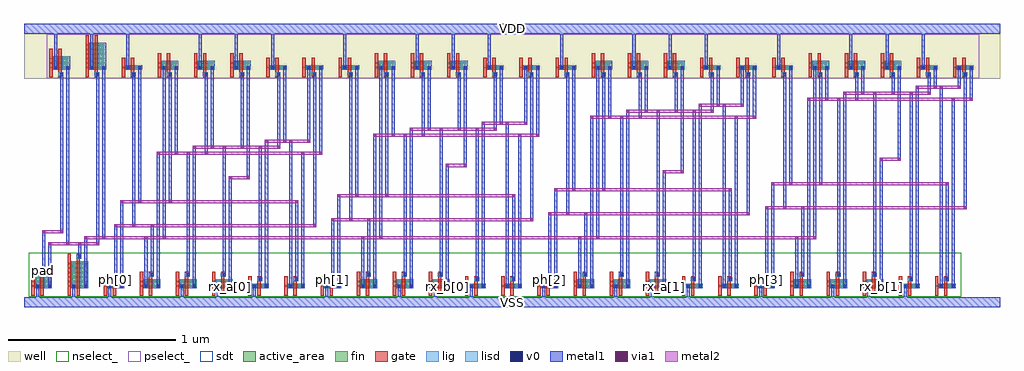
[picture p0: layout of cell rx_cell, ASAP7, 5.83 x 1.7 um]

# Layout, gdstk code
import gdstk
lib = gdstk.Library(unit=1e-6, precision=2.5e-10)
def R(c, l, rs):  # rectangles x0, y0, x1, y1
    for r in rs: c.add(gdstk.rectangle(r[:2], r[2:], *l))
def A(c, l, x, y, w, h, nx, ny, dx, dy):  # array of equal rectangles
    R(c, l, [(x+i*dx, y+j*dy, x+i*dx+w, y+j*dy+h) for i in range(nx) for j in range(ny)])
well = (1, 0)
fin = (2, 0)
gate = (7, 0)
active_area = (11, 0)
nselect_ = (12, 0)
pselect_ = (13, 0)
lig = (16, 0)
lisd = (17, 0)
v0 = (18, 0)
metal1 = (19, 0)
metal2 = (20, 0)
via1 = (21, 0)
sdt = (88, 0)

rx_cell = lib.new_cell('rx_cell')
R(rx_cell, well, [(0,1.366,5.832,1.636)])
A(rx_cell, fin, 0.049, 0.124, 0.108, 0.007, 26, 1, 0.216, 0)
A(rx_cell, fin, 0.265, 0.151, 0.108, 0.007, 1, 5, 0, 0.027)
A(rx_cell, fin, 0.697, 0.151, 0.108, 0.007, 3, 1, 0.216, 0)
A(rx_cell, fin, 1.993, 0.151, 0.108, 0.007, 3, 1, 0.216, 0)
A(rx_cell, fin, 3.289, 0.151, 0.108, 0.007, 3, 1, 0.216, 0)
A(rx_cell, fin, 4.585, 0.151, 0.108, 0.007, 3, 1, 0.216, 0)
A(rx_cell, fin, 0.157, 1.43, 0.108, 0.007, 26, 1, 0.216, 0)
A(rx_cell, fin, 0.373, 1.457, 0.108, 0.007, 1, 5, 0, 0.027)
A(rx_cell, fin, 0.805, 1.457, 0.108, 0.007, 3, 1, 0.216, 0)
A(rx_cell, fin, 2.101, 1.457, 0.108, 0.007, 3, 1, 0.216, 0)
A(rx_cell, fin, 3.397, 1.457, 0.108, 0.007, 3, 1, 0.216, 0)
A(rx_cell, fin, 4.693, 1.457, 0.108, 0.007, 3, 1, 0.216, 0)
R(rx_cell, fin, [(0.049,0.151,0.157,0.158), (0.049,0.178,0.157,0.185), (0.157,1.457,0.265,1.464), (0.157,1.484,0.265,1.491)])
R(rx_cell, gate, [(0.044,0.07,0.064,0.239), (0.098,0.07,0.118,0.239), (0.26,0.07,0.28,0.32), (0.314,0.07,0.334,0.32), (0.476,0.07,0.496,0.185), (0.53,0.07,0.55,0.185), (0.692,0.07,0.712,0.212), (0.746,0.07,0.766,0.212), (0.908,0.07,0.928,0.212), (0.962,0.07,0.982,0.212), (1.124,0.07,1.144,0.212), (1.178,0.07,1.198,0.212), (1.34,0.07,1.36,0.185), (1.394,0.07,1.414,0.185), (1.556,0.07,1.576,0.185), (1.61,0.07,1.63,0.185), (1.772,0.07,1.792,0.185), (1.826,0.07,1.846,0.185), (1.988,0.07,2.008,0.212), (2.042,0.07,2.062,0.212), (2.204,0.07,2.224,0.212), (2.258,0.07,2.278,0.212), (2.42,0.07,2.44,0.212), (2.474,0.07,2.494,0.212), (2.636,0.07,2.656,0.185), (2.69,0.07,2.71,0.185), (2.852,0.07,2.872,0.185), (2.906,0.07,2.926,0.185), (3.068,0.07,3.088,0.185), (3.122,0.07,3.142,0.185), (3.284,0.07,3.304,0.212), (3.338,0.07,3.358,0.212), (3.5,0.07,3.52,0.212), (3.554,0.07,3.574,0.212), (3.716,0.07,3.736,0.212), (3.77,0.07,3.79,0.212), (3.932,0.07,3.952,0.185), (3.986,0.07,4.006,0.185), (4.148,0.07,4.168,0.185), (4.202,0.07,4.222,0.185), (4.364,0.07,4.384,0.185), (4.418,0.07,4.438,0.185), (4.58,0.07,4.6,0.212), (4.634,0.07,4.654,0.212), (4.796,0.07,4.816,0.212), (4.85,0.07,4.87,0.212), (5.012,0.07,5.032,0.212), (5.066,0.07,5.086,0.212), (5.228,0.07,5.248,0.185), (5.282,0.07,5.302,0.185), (5.444,0.07,5.464,0.185), (5.498,0.07,5.518,0.185), (0.152,1.376,0.172,1.545), (0.206,1.376,0.226,1.545), (0.368,1.376,0.388,1.626), (0.422,1.376,0.442,1.626), (0.584,1.376,0.604,1.491), (0.638,1.376,0.658,1.491), (0.8,1.376,0.82,1.518), (0.854,1.376,0.874,1.518), (1.016,1.376,1.036,1.518), (1.07,1.376,1.09,1.518), (1.232,1.376,1.252,1.518), (1.286,1.376,1.306,1.518), (1.448,1.376,1.468,1.491), (1.502,1.376,1.522,1.491), (1.664,1.376,1.684,1.491), (1.718,1.376,1.738,1.491), (1.88,1.376,1.9,1.491), (1.934,1.376,1.954,1.491), (2.096,1.376,2.116,1.518), (2.15,1.376,2.17,1.518), (2.312,1.376,2.332,1.518), (2.366,1.376,2.386,1.518), (2.528,1.376,2.548,1.518), (2.582,1.376,2.602,1.518), (2.744,1.376,2.764,1.491), (2.798,1.376,2.818,1.491), (2.96,1.376,2.98,1.491), (3.014,1.376,3.034,1.491), (3.176,1.376,3.196,1.491), (3.23,1.376,3.25,1.491), (3.392,1.376,3.412,1.518), (3.446,1.376,3.466,1.518), (3.608,1.376,3.628,1.518), (3.662,1.376,3.682,1.518), (3.824,1.376,3.844,1.518), (3.878,1.376,3.898,1.518), (4.04,1.376,4.06,1.491), (4.094,1.376,4.114,1.491), (4.256,1.376,4.276,1.491), (4.31,1.376,4.33,1.491), (4.472,1.376,4.492,1.491), (4.526,1.376,4.546,1.491), (4.688,1.376,4.708,1.518), (4.742,1.376,4.762,1.518), (4.904,1.376,4.924,1.518), (4.958,1.376,4.978,1.518), (5.12,1.376,5.14,1.518), (5.174,1.376,5.194,1.518), (5.336,1.376,5.356,1.491), (5.39,1.376,5.41,1.491), (5.552,1.376,5.572,1.491), (5.606,1.376,5.626,1.491)])
A(rx_cell, active_area, 0.721, 0.114, 0.08, 0.054, 3, 1, 0.216, 0)
A(rx_cell, active_area, 1.369, 0.114, 0.08, 0.027, 3, 1, 0.216, 0)
A(rx_cell, active_area, 2.017, 0.114, 0.08, 0.054, 3, 1, 0.216, 0)
A(rx_cell, active_area, 2.665, 0.114, 0.08, 0.027, 3, 1, 0.216, 0)
A(rx_cell, active_area, 3.313, 0.114, 0.08, 0.054, 3, 1, 0.216, 0)
A(rx_cell, active_area, 3.961, 0.114, 0.08, 0.027, 3, 1, 0.216, 0)
A(rx_cell, active_area, 4.609, 0.114, 0.08, 0.054, 3, 1, 0.216, 0)
A(rx_cell, active_area, 0.829, 1.42, 0.08, 0.054, 3, 1, 0.216, 0)
A(rx_cell, active_area, 1.477, 1.42, 0.08, 0.027, 3, 1, 0.216, 0)
A(rx_cell, active_area, 2.125, 1.42, 0.08, 0.054, 3, 1, 0.216, 0)
A(rx_cell, active_area, 2.773, 1.42, 0.08, 0.027, 3, 1, 0.216, 0)
A(rx_cell, active_area, 3.421, 1.42, 0.08, 0.054, 3, 1, 0.216, 0)
A(rx_cell, active_area, 4.069, 1.42, 0.08, 0.027, 3, 1, 0.216, 0)
A(rx_cell, active_area, 4.717, 1.42, 0.08, 0.054, 3, 1, 0.216, 0)
R(rx_cell, active_area, [(0.073,0.114,0.153,0.195), (0.289,0.114,0.369,0.276), (0.505,0.114,0.585,0.141), (5.257,0.114,5.337,0.141), (5.473,0.114,5.553,0.141), (0.181,1.42,0.261,1.501), (0.397,1.42,0.477,1.582), (0.613,1.42,0.693,1.447), (5.365,1.42,5.445,1.447), (5.581,1.42,5.661,1.447)])
R(rx_cell, nselect_, [(0.027,0.063,5.599,0.327)])
R(rx_cell, pselect_, [(0.135,1.369,5.707,1.633)])
A(rx_cell, lig, 1.393, 0.157, 0.03, 0.024, 3, 1, 0.216, 0)
A(rx_cell, lig, 2.689, 0.157, 0.03, 0.024, 3, 1, 0.216, 0)
A(rx_cell, lig, 3.985, 0.157, 0.03, 0.024, 3, 1, 0.216, 0)
A(rx_cell, lig, 0.745, 0.184, 0.03, 0.024, 3, 1, 0.216, 0)
A(rx_cell, lig, 2.041, 0.184, 0.03, 0.024, 3, 1, 0.216, 0)
A(rx_cell, lig, 3.337, 0.184, 0.03, 0.024, 3, 1, 0.216, 0)
A(rx_cell, lig, 4.633, 0.184, 0.03, 0.024, 3, 1, 0.216, 0)
A(rx_cell, lig, 0.205, 1.38, 0.03, 0.024, 26, 1, 0.216, 0)
R(rx_cell, lig, [(0.529,0.157,0.559,0.181), (5.281,0.157,5.311,0.181), (5.497,0.157,5.527,0.181), (0.097,0.211,0.127,0.235), (0.313,0.292,0.343,0.316)])
A(rx_cell, lisd, 0.715, 0.114, 0.027, 0.054, 3, 1, 0.216, 0)
A(rx_cell, lisd, 0.77, 0.114, 0.045, 0.054, 3, 1, 0.216, 0)
A(rx_cell, lisd, 1.363, 0.114, 0.027, 0.027, 3, 1, 0.216, 0)
A(rx_cell, lisd, 1.418, 0.114, 0.045, 0.027, 3, 1, 0.216, 0)
A(rx_cell, lisd, 2.011, 0.114, 0.027, 0.054, 3, 1, 0.216, 0)
A(rx_cell, lisd, 2.066, 0.114, 0.045, 0.054, 3, 1, 0.216, 0)
A(rx_cell, lisd, 2.659, 0.114, 0.027, 0.027, 3, 1, 0.216, 0)
A(rx_cell, lisd, 2.714, 0.114, 0.045, 0.027, 3, 1, 0.216, 0)
A(rx_cell, lisd, 3.307, 0.114, 0.027, 0.054, 3, 1, 0.216, 0)
A(rx_cell, lisd, 3.362, 0.114, 0.045, 0.054, 3, 1, 0.216, 0)
A(rx_cell, lisd, 3.955, 0.114, 0.027, 0.027, 3, 1, 0.216, 0)
A(rx_cell, lisd, 4.01, 0.114, 0.045, 0.027, 3, 1, 0.216, 0)
A(rx_cell, lisd, 4.603, 0.114, 0.027, 0.054, 3, 1, 0.216, 0)
A(rx_cell, lisd, 4.658, 0.114, 0.045, 0.054, 3, 1, 0.216, 0)
A(rx_cell, lisd, 0.823, 1.42, 0.027, 0.054, 3, 1, 0.216, 0)
A(rx_cell, lisd, 0.878, 1.42, 0.045, 0.054, 3, 1, 0.216, 0)
A(rx_cell, lisd, 1.471, 1.42, 0.027, 0.027, 3, 1, 0.216, 0)
A(rx_cell, lisd, 1.526, 1.42, 0.045, 0.027, 3, 1, 0.216, 0)
A(rx_cell, lisd, 2.119, 1.42, 0.027, 0.054, 3, 1, 0.216, 0)
A(rx_cell, lisd, 2.174, 1.42, 0.045, 0.054, 3, 1, 0.216, 0)
A(rx_cell, lisd, 2.767, 1.42, 0.027, 0.027, 3, 1, 0.216, 0)
A(rx_cell, lisd, 2.822, 1.42, 0.045, 0.027, 3, 1, 0.216, 0)
A(rx_cell, lisd, 3.415, 1.42, 0.027, 0.054, 3, 1, 0.216, 0)
A(rx_cell, lisd, 3.47, 1.42, 0.045, 0.054, 3, 1, 0.216, 0)
A(rx_cell, lisd, 4.063, 1.42, 0.027, 0.027, 3, 1, 0.216, 0)
A(rx_cell, lisd, 4.118, 1.42, 0.045, 0.027, 3, 1, 0.216, 0)
A(rx_cell, lisd, 4.711, 1.42, 0.027, 0.054, 3, 1, 0.216, 0)
A(rx_cell, lisd, 4.766, 1.42, 0.045, 0.054, 3, 1, 0.216, 0)
R(rx_cell, lisd, [(0.067,0.114,0.094,0.195), (0.122,0.114,0.167,0.195), (0.283,0.114,0.31,0.276), (0.338,0.114,0.383,0.276), (0.499,0.114,0.526,0.141), (0.554,0.114,0.599,0.141), (5.251,0.114,5.278,0.141), (5.306,0.114,5.351,0.141), (5.467,0.114,5.494,0.141), (5.522,0.114,5.567,0.141), (0.175,1.42,0.202,1.501), (0.23,1.42,0.275,1.501), (0.391,1.42,0.418,1.582), (0.446,1.42,0.491,1.582), (0.607,1.42,0.634,1.447), (0.662,1.42,0.707,1.447), (5.359,1.42,5.386,1.447), (5.414,1.42,5.459,1.447), (5.575,1.42,5.602,1.447), (5.63,1.42,5.675,1.447)])
A(rx_cell, v0, 1.404, 0.16, 0.018, 0.018, 3, 1, 0.216, 0)
A(rx_cell, v0, 2.7, 0.16, 0.018, 0.018, 3, 1, 0.216, 0)
A(rx_cell, v0, 3.996, 0.16, 0.018, 0.018, 3, 1, 0.216, 0)
A(rx_cell, v0, 0.756, 0.187, 0.018, 0.018, 3, 1, 0.216, 0)
A(rx_cell, v0, 2.052, 0.187, 0.018, 0.018, 3, 1, 0.216, 0)
A(rx_cell, v0, 3.348, 0.187, 0.018, 0.018, 3, 1, 0.216, 0)
A(rx_cell, v0, 4.644, 0.187, 0.018, 0.018, 3, 1, 0.216, 0)
A(rx_cell, v0, 0.216, 1.383, 0.018, 0.018, 26, 1, 0.216, 0)
R(rx_cell, v0, [(0.072,0.118,0.09,0.136), (0.144,0.118,0.162,0.136), (0.288,0.118,0.306,0.136), (0.36,0.118,0.378,0.136), (0.504,0.118,0.522,0.136), (0.576,0.118,0.594,0.136), (0.72,0.118,0.738,0.136), (0.792,0.118,0.81,0.136), (0.936,0.118,0.954,0.136), (1.008,0.118,1.026,0.136), (1.152,0.118,1.17,0.136), (1.224,0.118,1.242,0.136), (1.368,0.118,1.386,0.136), (1.44,0.118,1.458,0.136), (1.584,0.118,1.602,0.136), (1.656,0.118,1.674,0.136), (1.8,0.118,1.818,0.136), (1.872,0.118,1.89,0.136), (2.016,0.118,2.034,0.136), (2.088,0.118,2.106,0.136), (2.232,0.118,2.25,0.136), (2.304,0.118,2.322,0.136), (2.448,0.118,2.466,0.136), (2.52,0.118,2.538,0.136), (2.664,0.118,2.682,0.136), (2.736,0.118,2.754,0.136), (2.88,0.118,2.898,0.136), (2.952,0.118,2.97,0.136), (3.096,0.118,3.114,0.136), (3.168,0.118,3.186,0.136), (3.312,0.118,3.33,0.136), (3.384,0.118,3.402,0.136), (3.528,0.118,3.546,0.136), (3.6,0.118,3.618,0.136), (3.744,0.118,3.762,0.136), (3.816,0.118,3.834,0.136), (3.96,0.118,3.978,0.136), (4.032,0.118,4.05,0.136), (4.176,0.118,4.194,0.136), (4.248,0.118,4.266,0.136), (4.392,0.118,4.41,0.136), (4.464,0.118,4.482,0.136), (4.608,0.118,4.626,0.136), (4.68,0.118,4.698,0.136), (4.824,0.118,4.842,0.136), (4.896,0.118,4.914,0.136), (5.04,0.118,5.058,0.136), (5.112,0.118,5.13,0.136), (5.256,0.118,5.274,0.136), (5.328,0.118,5.346,0.136), (5.472,0.118,5.49,0.136), (5.544,0.118,5.562,0.136), (0.54,0.16,0.558,0.178), (5.292,0.16,5.31,0.178), (5.508,0.16,5.526,0.178), (0.108,0.214,0.126,0.232), (0.324,0.295,0.342,0.313), (0.18,1.424,0.198,1.442), (0.252,1.424,0.27,1.442), (0.396,1.424,0.414,1.442), (0.468,1.424,0.486,1.442), (0.612,1.424,0.63,1.442), (0.684,1.424,0.702,1.442), (0.828,1.424,0.846,1.442), (0.9,1.424,0.918,1.442), (1.044,1.424,1.062,1.442), (1.116,1.424,1.134,1.442), (1.26,1.424,1.278,1.442), (1.332,1.424,1.35,1.442), (1.476,1.424,1.494,1.442), (1.548,1.424,1.566,1.442), (1.692,1.424,1.71,1.442), (1.764,1.424,1.782,1.442), (1.908,1.424,1.926,1.442), (1.98,1.424,1.998,1.442), (2.124,1.424,2.142,1.442), (2.196,1.424,2.214,1.442), (2.34,1.424,2.358,1.442), (2.412,1.424,2.43,1.442), (2.556,1.424,2.574,1.442), (2.628,1.424,2.646,1.442), (2.772,1.424,2.79,1.442), (2.844,1.424,2.862,1.442), (2.988,1.424,3.006,1.442), (3.06,1.424,3.078,1.442), (3.204,1.424,3.222,1.442), (3.276,1.424,3.294,1.442), (3.42,1.424,3.438,1.442), (3.492,1.424,3.51,1.442), (3.636,1.424,3.654,1.442), (3.708,1.424,3.726,1.442), (3.852,1.424,3.87,1.442), (3.924,1.424,3.942,1.442), (4.068,1.424,4.086,1.442), (4.14,1.424,4.158,1.442), (4.284,1.424,4.302,1.442), (4.356,1.424,4.374,1.442), (4.5,1.424,4.518,1.442), (4.572,1.424,4.59,1.442), (4.716,1.424,4.734,1.442), (4.788,1.424,4.806,1.442), (4.932,1.424,4.95,1.442), (5.004,1.424,5.022,1.442), (5.148,1.424,5.166,1.442), (5.22,1.424,5.238,1.442), (5.364,1.424,5.382,1.442), (5.436,1.424,5.454,1.442), (5.58,1.424,5.598,1.442), (5.652,1.424,5.67,1.442)])
A(rx_cell, metal1, 0.072, 0.021, 0.018, 0.115, 3, 1, 0.216, 0)
A(rx_cell, metal1, 0.936, 0.021, 0.018, 0.115, 3, 1, 0.216, 0)
A(rx_cell, metal1, 2.232, 0.021, 0.018, 0.115, 3, 1, 0.216, 0)
A(rx_cell, metal1, 3.528, 0.021, 0.018, 0.115, 3, 1, 0.216, 0)
A(rx_cell, metal1, 4.824, 0.021, 0.018, 0.115, 3, 1, 0.216, 0)
A(rx_cell, metal1, 0.72, 0.118, 0.018, 0.307, 4, 1, 1.296, 0)
A(rx_cell, metal1, 0.828, 0.407, 0.018, 1.035, 4, 1, 1.296, 0)
A(rx_cell, metal1, 0.18, 1.424, 0.018, 0.251, 3, 1, 0.216, 0)
A(rx_cell, metal1, 1.044, 1.424, 0.018, 0.251, 3, 1, 0.216, 0)
A(rx_cell, metal1, 2.34, 1.424, 0.018, 0.251, 3, 1, 0.216, 0)
A(rx_cell, metal1, 3.636, 1.424, 0.018, 0.251, 3, 1, 0.216, 0)
A(rx_cell, metal1, 4.932, 1.424, 0.018, 0.251, 3, 1, 0.216, 0)
R(rx_cell, metal1, [(0,0,5.832,0.06), (1.8,0.021,1.818,0.136), (3.096,0.021,3.114,0.136), (4.392,0.021,4.41,0.136), (0.144,0.118,0.162,0.389), (0.36,0.118,0.378,0.425), (0.576,0.118,0.594,0.641), (0.792,0.118,0.81,0.929), (1.008,0.118,1.026,0.965), (1.224,0.118,1.242,0.785), (1.44,0.118,1.458,1.001), (1.584,0.118,1.602,1.001), (1.656,0.118,1.674,0.929), (1.872,0.118,1.89,0.677), (2.088,0.118,2.106,1.037), (2.304,0.118,2.322,1.073), (2.52,0.118,2.538,0.857), (2.736,0.118,2.754,1.109), (2.88,0.118,2.898,1.109), (2.952,0.118,2.97,1.037), (3.168,0.118,3.186,0.713), (3.384,0.118,3.402,1.145), (3.6,0.118,3.618,1.181), (3.816,0.118,3.834,0.821), (4.032,0.118,4.05,1.217), (4.176,0.118,4.194,1.217), (4.248,0.118,4.266,1.145), (4.464,0.118,4.482,0.749), (4.68,0.118,4.698,1.253), (4.896,0.118,4.914,1.289), (5.112,0.118,5.13,0.893), (5.328,0.118,5.346,1.325), (5.472,0.118,5.49,1.325), (5.544,0.118,5.562,1.253), (0.54,0.16,0.558,0.497), (1.404,0.16,1.422,0.965), (1.62,0.16,1.638,0.641), (1.836,0.16,1.854,0.533), (2.7,0.16,2.718,1.073), (2.916,0.16,2.934,0.677), (3.132,0.16,3.15,0.569), (3.996,0.16,4.014,1.181), (4.212,0.16,4.23,0.713), (4.428,0.16,4.446,0.605), (5.292,0.16,5.31,1.289), (5.508,0.16,5.526,0.749), (0.756,0.187,0.774,0.497), (0.972,0.187,0.99,0.929), (1.188,0.187,1.206,0.965), (2.052,0.187,2.07,0.533), (2.268,0.187,2.286,1.037), (2.484,0.187,2.502,1.073), (3.348,0.187,3.366,0.569), (3.564,0.187,3.582,1.145), (3.78,0.187,3.798,1.181), (4.644,0.187,4.662,0.605), (4.86,0.187,4.878,1.253), (5.076,0.187,5.094,1.289), (0.108,0.214,0.126,0.461), (0.324,0.295,0.342,0.389), (0.252,0.371,0.27,1.442), (0.432,0.371,0.45,1.401), (0.468,0.407,0.486,1.442), (0.216,0.443,0.234,1.401), (0.648,0.479,0.666,1.401), (1.728,0.479,1.746,1.401), (1.944,0.515,1.962,1.401), (3.024,0.515,3.042,1.401), (3.24,0.551,3.258,1.401), (4.32,0.551,4.338,1.401), (4.536,0.587,4.554,1.401), (5.616,0.587,5.634,1.401), (0.684,0.623,0.702,1.442), (0.864,0.623,0.882,1.401), (1.98,0.659,1.998,1.442), (2.16,0.659,2.178,1.401), (3.276,0.695,3.294,1.442), (3.456,0.695,3.474,1.401), (4.572,0.731,4.59,1.442), (4.752,0.731,4.77,1.401), (1.332,0.767,1.35,1.442), (3.924,0.803,3.942,1.442), (2.628,0.839,2.646,1.442), (5.22,0.875,5.238,1.442), (0.9,0.911,0.918,1.442), (1.08,0.911,1.098,1.401), (1.764,0.911,1.782,1.442), (1.116,0.947,1.134,1.442), (1.296,0.947,1.314,1.401), (1.512,0.947,1.53,1.401), (1.548,0.983,1.566,1.442), (1.692,0.983,1.71,1.442), (2.196,1.019,2.214,1.442), (2.376,1.019,2.394,1.401), (3.06,1.019,3.078,1.442), (2.412,1.055,2.43,1.442), (2.592,1.055,2.61,1.401), (2.808,1.055,2.826,1.401), (2.844,1.091,2.862,1.442), (2.988,1.091,3.006,1.442), (3.492,1.127,3.51,1.442), (3.672,1.127,3.69,1.401), (4.356,1.127,4.374,1.442), (3.708,1.163,3.726,1.442), (3.888,1.163,3.906,1.401), (4.104,1.163,4.122,1.401), (4.14,1.199,4.158,1.442), (4.284,1.199,4.302,1.442), (4.788,1.235,4.806,1.442), (4.968,1.235,4.986,1.401), (5.652,1.235,5.67,1.442), (5.004,1.271,5.022,1.442), (5.184,1.271,5.202,1.401), (5.4,1.271,5.418,1.401), (5.436,1.307,5.454,1.442), (5.58,1.307,5.598,1.442), (1.908,1.424,1.926,1.675), (3.204,1.424,3.222,1.675), (4.5,1.424,4.518,1.675), (0,1.636,5.832,1.696)])
R(rx_cell, metal2, [(0.144,0.371,0.45,0.389), (0.36,0.407,4.734,0.425), (0.108,0.443,0.234,0.461), (0.54,0.479,1.746,0.497), (1.836,0.515,3.042,0.533), (3.132,0.551,4.338,0.569), (4.428,0.587,5.634,0.605), (0.576,0.623,1.638,0.641), (1.872,0.659,2.934,0.677), (3.168,0.695,4.23,0.713), (4.464,0.731,5.526,0.749), (1.224,0.767,1.35,0.785), (3.816,0.803,3.942,0.821), (2.52,0.839,2.646,0.857), (5.112,0.875,5.238,0.893), (0.792,0.911,1.782,0.929), (1.008,0.947,1.53,0.965), (1.44,0.983,1.71,1.001), (2.088,1.019,3.078,1.037), (2.304,1.055,2.826,1.073), (2.736,1.091,3.006,1.109), (3.384,1.127,4.374,1.145), (3.6,1.163,4.122,1.181), (4.032,1.199,4.302,1.217), (4.68,1.235,5.67,1.253), (4.896,1.271,5.418,1.289), (5.328,1.307,5.598,1.325)])
A(rx_cell, via1, 0.54, 0.479, 0.018, 0.018, 3, 1, 0.108, 0)
A(rx_cell, via1, 1.836, 0.515, 0.018, 0.018, 3, 1, 0.108, 0)
A(rx_cell, via1, 3.132, 0.551, 0.018, 0.018, 3, 1, 0.108, 0)
A(rx_cell, via1, 4.428, 0.587, 0.018, 0.018, 3, 1, 0.108, 0)
A(rx_cell, via1, 1.188, 0.947, 0.018, 0.018, 4, 1, 0.108, 0)
A(rx_cell, via1, 2.484, 1.055, 0.018, 0.018, 4, 1, 0.108, 0)
A(rx_cell, via1, 3.78, 1.163, 0.018, 0.018, 4, 1, 0.108, 0)
A(rx_cell, via1, 5.076, 1.271, 0.018, 0.018, 4, 1, 0.108, 0)
R(rx_cell, via1, [(0.144,0.371,0.162,0.389), (0.252,0.371,0.27,0.389), (0.324,0.371,0.342,0.389), (0.432,0.371,0.45,0.389), (0.36,0.407,0.378,0.425), (0.468,0.407,0.486,0.425), (0.72,0.407,0.738,0.425), (0.828,0.407,0.846,0.425), (2.016,0.407,2.034,0.425), (2.124,0.407,2.142,0.425), (3.312,0.407,3.33,0.425), (3.42,0.407,3.438,0.425), (4.608,0.407,4.626,0.425), (4.716,0.407,4.734,0.425), (0.108,0.443,0.126,0.461), (0.216,0.443,0.234,0.461), (1.728,0.479,1.746,0.497), (3.024,0.515,3.042,0.533), (4.32,0.551,4.338,0.569), (5.616,0.587,5.634,0.605), (0.576,0.623,0.594,0.641), (0.684,0.623,0.702,0.641), (0.864,0.623,0.882,0.641), (1.62,0.623,1.638,0.641), (1.872,0.659,1.89,0.677), (1.98,0.659,1.998,0.677), (2.16,0.659,2.178,0.677), (2.916,0.659,2.934,0.677), (3.168,0.695,3.186,0.713), (3.276,0.695,3.294,0.713), (3.456,0.695,3.474,0.713), (4.212,0.695,4.23,0.713), (4.464,0.731,4.482,0.749), (4.572,0.731,4.59,0.749), (4.752,0.731,4.77,0.749), (5.508,0.731,5.526,0.749), (1.224,0.767,1.242,0.785), (1.332,0.767,1.35,0.785), (3.816,0.803,3.834,0.821), (3.924,0.803,3.942,0.821), (2.52,0.839,2.538,0.857), (2.628,0.839,2.646,0.857), (5.112,0.875,5.13,0.893), (5.22,0.875,5.238,0.893), (0.792,0.911,0.81,0.929), (0.9,0.911,0.918,0.929), (0.972,0.911,0.99,0.929), (1.08,0.911,1.098,0.929), (1.656,0.911,1.674,0.929), (1.764,0.911,1.782,0.929), (1.008,0.947,1.026,0.965), (1.116,0.947,1.134,0.965), (1.44,0.983,1.458,1.001), (1.548,0.983,1.566,1.001), (1.584,0.983,1.602,1.001), (1.692,0.983,1.71,1.001), (2.088,1.019,2.106,1.037), (2.196,1.019,2.214,1.037), (2.268,1.019,2.286,1.037), (2.376,1.019,2.394,1.037), (2.952,1.019,2.97,1.037), (3.06,1.019,3.078,1.037), (2.304,1.055,2.322,1.073), (2.412,1.055,2.43,1.073), (2.736,1.091,2.754,1.109), (2.844,1.091,2.862,1.109), (2.88,1.091,2.898,1.109), (2.988,1.091,3.006,1.109), (3.384,1.127,3.402,1.145), (3.492,1.127,3.51,1.145), (3.564,1.127,3.582,1.145), (3.672,1.127,3.69,1.145), (4.248,1.127,4.266,1.145), (4.356,1.127,4.374,1.145), (3.6,1.163,3.618,1.181), (3.708,1.163,3.726,1.181), (4.032,1.199,4.05,1.217), (4.14,1.199,4.158,1.217), (4.176,1.199,4.194,1.217), (4.284,1.199,4.302,1.217), (4.68,1.235,4.698,1.253), (4.788,1.235,4.806,1.253), (4.86,1.235,4.878,1.253), (4.968,1.235,4.986,1.253), (5.544,1.235,5.562,1.253), (5.652,1.235,5.67,1.253), (4.896,1.271,4.914,1.289), (5.004,1.271,5.022,1.289), (5.328,1.307,5.346,1.325), (5.436,1.307,5.454,1.325), (5.472,1.307,5.49,1.325), (5.58,1.307,5.598,1.325)])
A(rx_cell, sdt, 0.717, 0.114, 0.024, 0.054, 3, 1, 0.216, 0)
A(rx_cell, sdt, 0.771, 0.114, 0.042, 0.054, 3, 1, 0.216, 0)
A(rx_cell, sdt, 1.365, 0.114, 0.024, 0.027, 3, 1, 0.216, 0)
A(rx_cell, sdt, 1.419, 0.114, 0.042, 0.027, 3, 1, 0.216, 0)
A(rx_cell, sdt, 2.013, 0.114, 0.024, 0.054, 3, 1, 0.216, 0)
A(rx_cell, sdt, 2.067, 0.114, 0.042, 0.054, 3, 1, 0.216, 0)
A(rx_cell, sdt, 2.661, 0.114, 0.024, 0.027, 3, 1, 0.216, 0)
A(rx_cell, sdt, 2.715, 0.114, 0.042, 0.027, 3, 1, 0.216, 0)
A(rx_cell, sdt, 3.309, 0.114, 0.024, 0.054, 3, 1, 0.216, 0)
A(rx_cell, sdt, 3.363, 0.114, 0.042, 0.054, 3, 1, 0.216, 0)
A(rx_cell, sdt, 3.957, 0.114, 0.024, 0.027, 3, 1, 0.216, 0)
A(rx_cell, sdt, 4.011, 0.114, 0.042, 0.027, 3, 1, 0.216, 0)
A(rx_cell, sdt, 4.605, 0.114, 0.024, 0.054, 3, 1, 0.216, 0)
A(rx_cell, sdt, 4.659, 0.114, 0.042, 0.054, 3, 1, 0.216, 0)
A(rx_cell, sdt, 0.825, 1.42, 0.024, 0.054, 3, 1, 0.216, 0)
A(rx_cell, sdt, 0.879, 1.42, 0.042, 0.054, 3, 1, 0.216, 0)
A(rx_cell, sdt, 1.473, 1.42, 0.024, 0.027, 3, 1, 0.216, 0)
A(rx_cell, sdt, 1.527, 1.42, 0.042, 0.027, 3, 1, 0.216, 0)
A(rx_cell, sdt, 2.121, 1.42, 0.024, 0.054, 3, 1, 0.216, 0)
A(rx_cell, sdt, 2.175, 1.42, 0.042, 0.054, 3, 1, 0.216, 0)
A(rx_cell, sdt, 2.769, 1.42, 0.024, 0.027, 3, 1, 0.216, 0)
A(rx_cell, sdt, 2.823, 1.42, 0.042, 0.027, 3, 1, 0.216, 0)
A(rx_cell, sdt, 3.417, 1.42, 0.024, 0.054, 3, 1, 0.216, 0)
A(rx_cell, sdt, 3.471, 1.42, 0.042, 0.054, 3, 1, 0.216, 0)
A(rx_cell, sdt, 4.065, 1.42, 0.024, 0.027, 3, 1, 0.216, 0)
A(rx_cell, sdt, 4.119, 1.42, 0.042, 0.027, 3, 1, 0.216, 0)
A(rx_cell, sdt, 4.713, 1.42, 0.024, 0.054, 3, 1, 0.216, 0)
A(rx_cell, sdt, 4.767, 1.42, 0.042, 0.054, 3, 1, 0.216, 0)
R(rx_cell, sdt, [(0.069,0.114,0.093,0.195), (0.123,0.114,0.165,0.195), (0.285,0.114,0.309,0.276), (0.339,0.114,0.381,0.276), (0.501,0.114,0.525,0.141), (0.555,0.114,0.597,0.141), (5.253,0.114,5.277,0.141), (5.307,0.114,5.349,0.141), (5.469,0.114,5.493,0.141), (5.523,0.114,5.565,0.141), (0.177,1.42,0.201,1.501), (0.231,1.42,0.273,1.501), (0.393,1.42,0.417,1.582), (0.447,1.42,0.489,1.582), (0.609,1.42,0.633,1.447), (0.663,1.42,0.705,1.447), (5.361,1.42,5.385,1.447), (5.415,1.42,5.457,1.447), (5.577,1.42,5.601,1.447), (5.631,1.42,5.673,1.447)])
rx_cell.add(gdstk.Label('VSS', (2.916,0.03), layer=19, texttype=251))
rx_cell.add(gdstk.Label('VDD', (2.916,1.666), layer=19, texttype=251))
rx_cell.add(gdstk.Label('pad', (0.117,0.223), layer=19, texttype=251))
rx_cell.add(gdstk.Label('ph[0]', (0.549,0.169), layer=19, texttype=251))
rx_cell.add(gdstk.Label('rx_a[0]', (1.233,0.127), layer=19, texttype=251))
rx_cell.add(gdstk.Label('ph[1]', (1.845,0.169), layer=19, texttype=251))
rx_cell.add(gdstk.Label('rx_b[0]', (2.529,0.127), layer=19, texttype=251))
rx_cell.add(gdstk.Label('ph[2]', (3.141,0.169), layer=19, texttype=251))
rx_cell.add(gdstk.Label('rx_a[1]', (3.825,0.127), layer=19, texttype=251))
rx_cell.add(gdstk.Label('ph[3]', (4.437,0.169), layer=19, texttype=251))
rx_cell.add(gdstk.Label('rx_b[1]', (5.121,0.127), layer=19, texttype=251))

lib.write_gds('rx_cell.gds')
